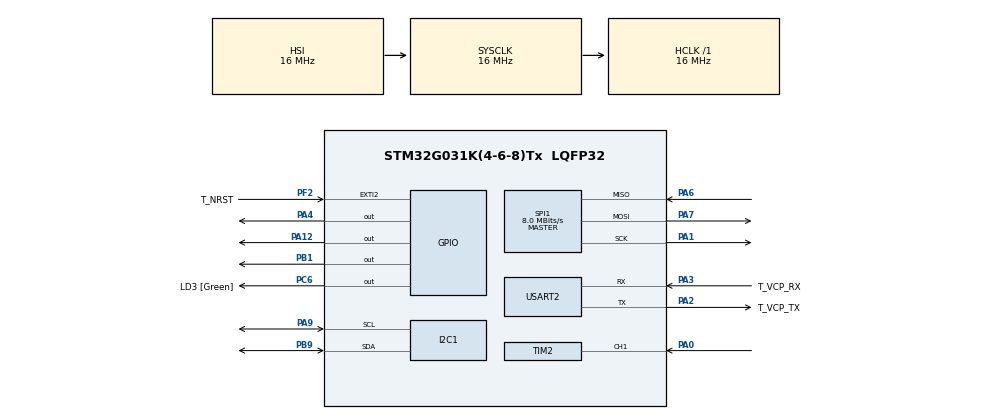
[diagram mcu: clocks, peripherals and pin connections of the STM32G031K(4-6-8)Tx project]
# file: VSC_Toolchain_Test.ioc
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Dma.I2C1_RX.1.Direction=DMA_PERIPH_TO_MEMORY
Dma.I2C1_RX.1.EventEnable=DISABLE
Dma.I2C1_RX.1.Instance=DMA1_Channel2
Dma.I2C1_RX.1.MemDataAlignment=DMA_MDATAALIGN_BYTE
Dma.I2C1_RX.1.MemInc=DMA_MINC_ENABLE
Dma.I2C1_RX.1.Mode=DMA_NORMAL
Dma.I2C1_RX.1.PeriphDataAlignment=DMA_PDATAALIGN_BYTE
Dma.I2C1_RX.1.PeriphInc=DMA_PINC_DISABLE
Dma.I2C1_RX.1.Polarity=HAL_DMAMUX_REQ_GEN_RISING
Dma.I2C1_RX.1.Priority=DMA_PRIORITY_LOW
Dma.I2C1_RX.1.RequestNumber=1
Dma.I2C1_RX.1.SignalID=NONE
Dma.I2C1_RX.1.SyncEnable=DISABLE
Dma.I2C1_RX.1.SyncPolarity=HAL_DMAMUX_SYNC_NO_EVENT
Dma.I2C1_RX.1.SyncRequestNumber=1
Dma.I2C1_RX.1.SyncSignalID=NONE
Dma.Request0=TIM2_CH1
Dma.Request1=I2C1_RX
Dma.TIM2_CH1.0.Direction=DMA_PERIPH_TO_MEMORY
Dma.TIM2_CH1.0.EventEnable=DISABLE
Dma.TIM2_CH1.0.Instance=DMA1_Channel1
Dma.TIM2_CH1.0.MemDataAlignment=DMA_MDATAALIGN_WORD
Dma.TIM2_CH1.0.MemInc=DMA_MINC_ENABLE
Dma.TIM2_CH1.0.Mode=DMA_NORMAL
Dma.TIM2_CH1.0.PeriphDataAlignment=DMA_PDATAALIGN_WORD
Dma.TIM2_CH1.0.PeriphInc=DMA_PINC_DISABLE
Dma.TIM2_CH1.0.Polarity=HAL_DMAMUX_REQ_GEN_RISING
Dma.TIM2_CH1.0.Priority=DMA_PRIORITY_LOW
Dma.TIM2_CH1.0.RequestNumber=1
Dma.TIM2_CH1.0.SignalID=NONE
Dma.TIM2_CH1.0.SyncEnable=DISABLE
Dma.TIM2_CH1.0.SyncPolarity=HAL_DMAMUX_SYNC_NO_EVENT
Dma.TIM2_CH1.0.SyncRequestNumber=1
Dma.TIM2_CH1.0.SyncSignalID=NONE
FREERTOS.Tasks01=defaultTask,24,128,StartDefaultTask,Default,NULL,Dynamic,NULL,NULL
I2C1.Timing=0x00503D58
Mcu.Family=STM32G0
Mcu.Name=STM32G031K(4-6-8)Tx
Mcu.Package=LQFP32
NVIC.DMA1_Channel1_IRQn=true\:3\:0\:false\:false\:true\:true\:false\:true\:true
NVIC.DMA1_Channel2_3_IRQn=true\:3\:0\:false\:false\:true\:true\:false\:true\:true
NVIC.TIM16_IRQn=true\:3\:0\:false\:false\:true\:false\:false\:true\:true
NVIC.TimeBase=TIM16_IRQn
NVIC.TimeBaseIP=TIM16
PA0.Signal=S_TIM2_CH1_ETR
PA1.Mode=Full_Duplex_Master
PA1.Signal=SPI1_SCK
PA12\ [PA10].Signal=GPIO_Output
PA13.GPIO_Label=T_JTMS
PA13.Mode=Serial_Wire
PA13.Signal=SYS_SWDIO
PA14-BOOT0.GPIO_Label=T_JTCK
PA14-BOOT0.Mode=Serial_Wire
PA14-BOOT0.Signal=SYS_SWCLK
PA2.GPIO_Label=T_VCP_TX
PA2.GPIO_PuPd=GPIO_PULLUP
PA2.Mode=Asynchronous
PA2.Signal=USART2_TX
PA3.GPIO_Label=T_VCP_RX
PA3.GPIO_PuPd=GPIO_PULLUP
PA3.Mode=Asynchronous
PA3.Signal=USART2_RX
PA4.Signal=GPIO_Output
PA6.Mode=Full_Duplex_Master
PA6.Signal=SPI1_MISO
PA7.Mode=Full_Duplex_Master
PA7.Signal=SPI1_MOSI
PA9.Mode=I2C
PA9.Signal=I2C1_SCL
PB1.Signal=GPIO_Output
PB9.Mode=I2C
PB9.Signal=I2C1_SDA
PC14-OSC32_IN\ (PC14).Mode=LSE-External-Oscillator
PC14-OSC32_IN\ (PC14).Signal=RCC_OSC32_IN
PC15-OSC32_OUT\ (PC15).Mode=LSE-External-Oscillator
PC15-OSC32_OUT\ (PC15).Signal=RCC_OSC32_OUT
PC6.GPIO_Label=LD3 [Green]
PC6.Signal=GPIO_Output
PF2\ -\ NRST.GPIO_Label=T_NRST
PF2\ -\ NRST.Signal=GPXTI2
ProjectManager.HeapSize=0x200
ProjectManager.StackSize=0x400
ProjectManager.TargetToolchain=CMake
RCC.AHBFreq_Value=16000000
RCC.CortexFreq_Value=16000000
RCC.EXTERNAL_CLOCK_VALUE=12288000
RCC.HCLKFreq_Value=16000000
RCC.HSE_VALUE=8000000
RCC.HSI_VALUE=16000000
RCC.SYSCLKFreq_VALUE=16000000
RCC.VCOOutputFreq_Value=128000000
SH.S_TIM2_CH1_ETR.0=TIM2_CH1,Input_Capture1_from_TI1
SPI1.CalculateBaudRate=8.0 MBits/s
SPI1.Direction=SPI_DIRECTION_2LINES
SPI1.Mode=SPI_MODE_MASTER
SPI1.VirtualType=VM_MASTER
TIM14.Prescaler=14999
TIM2.Channel-Input_Capture1_from_TI1=TIM_CHANNEL_1
USART2.VirtualMode-Asynchronous=VM_ASYNC
USART2.WordLength=WORDLENGTH_8B
VP_FREERTOS_VS_CMSIS_V2.Mode=CMSIS_V2
VP_SYS_VS_tim16.Mode=TIM16
VP_TIM14_VS_ClockSourceINT.Mode=Enable_Timer
board=NUCLEO-G031K8

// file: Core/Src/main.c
/* USER CODE BEGIN Header */
/**
  ******************************************************************************
  * @file           : main.c
  * @brief          : Main program body
  ******************************************************************************
  * @attention
  *
  * Copyright (c) 2026 STMicroelectronics.
  * All rights reserved.
  *
  * This software is licensed under terms that can be found in the LICENSE file
  * in the root directory of this software component.
  * If no LICENSE file comes with this software, it is provided AS-IS.
  *
  ******************************************************************************
  */
/* USER CODE END Header */
#include "main.h"
#include "cmsis_os2.h"

/* USER CODE BEGIN Includes */
#include <stdint.h>
#include <string.h>
#include <stdio.h>
#include <stdlib.h>
#include <math.h>
#include "imu_math.h"
#include "imu_task.h"
#include "stm32g0xx_hal_spi.h"
#include "lcd_driver.h"
#include "display_task.h"
#include "stm32g0xx_hal_uart.h"
#include "FreeRTOS.h"
#include "task.h"

/* USER CODE END Includes */

/* USER CODE BEGIN PD */

#define IMU_DEV_ADDR 0b11010000
#define DEG2RAD 0.01745329252f

/* USER CODE END PD */

I2C_HandleTypeDef hi2c1;
DMA_HandleTypeDef hdma_i2c1_rx;

SPI_HandleTypeDef hspi1;

TIM_HandleTypeDef htim2;
TIM_HandleTypeDef htim14;
DMA_HandleTypeDef hdma_tim2_ch1;

UART_HandleTypeDef huart2;

/* USER CODE BEGIN PV */
osMessageQueueId_t eulerQueue;
osThreadId_t imuTaskHandle;
const osThreadAttr_t imuTask_attributes = {
  .name = "imuTask",
  .priority = (osPriority_t) osPriorityAboveNormal1,
  .stack_size = 128 * 6
};
osThreadId_t displayTaskHandle;
const osThreadAttr_t displayTask_attributes = {
  .name = "displayTask",
  .priority = (osPriority_t) osPriorityNormal,
  .stack_size = 128 * 5
};

#define FLAG_DMA_COMPLETE 0x0001

uint8_t sensor_bytes[16];

/* USER CODE END PV */

void SystemClock_Config(void);
static void MX_GPIO_Init(void);
static void MX_DMA_Init(void);
static void MX_USART2_UART_Init(void);
static void MX_I2C1_Init(void);
static void MX_TIM14_Init(void);
static void MX_TIM2_Init(void);
static void MX_SPI1_Init(void);

/* USER CODE BEGIN 0 */

volatile char g_overflow_task[16];

void vApplicationMallocFailedHook(void){
  __disable_irq();
  for(;;);                      // breakpoint here: heap exhausted
}

void vApplicationStackOverflowHook(TaskHandle_t t, char *n){
  (void)t;
  strncpy((char*)g_overflow_task, n, 15);   // read this in the watch window
  __disable_irq();
  for(;;);                      // breakpoint here: stack overflow
}

void I2C1_IRQHandler(void)
{
  HAL_I2C_EV_IRQHandler(&hi2c1);
  HAL_I2C_ER_IRQHandler(&hi2c1);
}

void EXTI0_1_IRQHandler(void){
  HAL_GPIO_EXTI_IRQHandler(GPIO_PIN_1);
}

void TIM2_IRQHandler(void){
  HAL_TIM_IRQHandler(&htim2);
}

void HAL_GPIO_EXTI_Rising_Callback(uint16_t GPIO_Pin){
  if(GPIO_Pin == GPIO_PIN_1){
    HAL_GPIO_TogglePin(LD3_GPIO_Port, LD3_Pin);
  }
}

void HAL_GPIO_EXTI_Falling_Callback(uint16_t GPIO_Pin){
  if(GPIO_Pin == GPIO_PIN_1){
    HAL_GPIO_WritePin(LD3_GPIO_Port, LD3_Pin, GPIO_PIN_RESET);
  }
}

void HAL_TIM_IC_CaptureCallback(TIM_HandleTypeDef *htim){
  if (htim->Instance == TIM2) {
    uint16_t timer_reading = (uint16_t)HAL_TIM_ReadCapturedValue(htim, TIM_CHANNEL_1);
    uint8_t timer_upper = (uint8_t) (timer_reading >> 8) & 0xFF;
    uint8_t timer_lower = (uint8_t) (timer_reading & 0xFF);
    sensor_bytes[0] = timer_upper;
    sensor_bytes[1] = timer_lower;
    HAL_I2C_Mem_Read_DMA(&hi2c1, IMU_DEV_ADDR, 0x3B, I2C_MEMADD_SIZE_8BIT, &sensor_bytes[2], 14);
  }
}

void HAL_I2C_MemRxCpltCallback(I2C_HandleTypeDef *hi2c){
  if (hi2c == &hi2c1 && imuTaskHandle != NULL){
    osThreadFlagsSet(imuTaskHandle, FLAG_DMA_COMPLETE);
  }
}

/* USER CODE END 0 */

int main(void)
{

  /* MCU Configuration--------------------------------------------------------*/

  /* Reset of all peripherals, Initializes the Flash interface and the Systick. */
  HAL_Init();

  /* Configure the system clock */
  SystemClock_Config();

  /* Initialize all configured peripherals */
  MX_GPIO_Init();
  MX_DMA_Init();
  MX_USART2_UART_Init();
  MX_I2C1_Init();
  MX_TIM14_Init();
  MX_TIM2_Init();
  MX_SPI1_Init();
  /* USER CODE BEGIN 2 */

  HAL_NVIC_SetPriority(USART2_IRQn, 0, 0);
  HAL_NVIC_EnableIRQ(EXTI0_1_IRQn);
  HAL_NVIC_EnableIRQ(USART2_IRQn);
  HAL_NVIC_SetPriority(I2C1_IRQn, 0, 0);
  HAL_NVIC_EnableIRQ(I2C1_IRQn);
  HAL_NVIC_EnableIRQ(TIM2_IRQn);
  /* USER CODE END 2 */

  /* Init scheduler */
  osKernelInitialize();

  /* USER CODE BEGIN RTOS_QUEUES */
  /* add queues, ... */
  eulerQueue = osMessageQueueNew(1, sizeof(vec3), NULL);
  if(eulerQueue == NULL) Error_Handler();
  /* USER CODE END RTOS_QUEUES */

  /* Create the thread(s) */
  /* creation of defaultTask */
  // defaultTaskHandle = osThreadNew(StartDefaultTask, NULL, &defaultTask_attributes);
  /* USER CODE BEGIN RTOS_THREADS */
  /* add threads, ... */
  imuTaskHandle = osThreadNew(thread_func_imu, NULL, &imuTask_attributes);
  if(imuTaskHandle == NULL) Error_Handler();
  displayTaskHandle = osThreadNew(thread_func_display, NULL, &displayTask_attributes);
  if(displayTaskHandle == NULL) Error_Handler();

  /* USER CODE END RTOS_THREADS */

  /* USER CODE BEGIN RTOS_EVENTS */
  /* add events, ... */
  // char buf[48];
  // int n = sprintf(buf, "free=%u min=%u\r\n",
  //                 (unsigned)xPortGetFreeHeapSize(),
  //                 (unsigned)xPortGetMinimumEverFreeHeapSize());
  // HAL_UART_Transmit(&huart2, (uint8_t*)buf, n, 50);

  /* USER CODE END RTOS_EVENTS */

  /* Start scheduler */
  osKernelStart();

  /* We should never get here as control is now taken by the scheduler */
}

void SystemClock_Config(void)
{
  RCC_OscInitTypeDef RCC_OscInitStruct = {0};
  RCC_ClkInitTypeDef RCC_ClkInitStruct = {0};

  /** Configure the main internal regulator output voltage
  */
  HAL_PWREx_ControlVoltageScaling(PWR_REGULATOR_VOLTAGE_SCALE1);

  /** Initializes the RCC Oscillators according to the specified parameters
  * in the RCC_OscInitTypeDef structure.
  */
  RCC_OscInitStruct.OscillatorType = RCC_OSCILLATORTYPE_HSI;
  RCC_OscInitStruct.HSIState = RCC_HSI_ON;
  RCC_OscInitStruct.HSIDiv = RCC_HSI_DIV1;
  RCC_OscInitStruct.HSICalibrationValue = RCC_HSICALIBRATION_DEFAULT;
  RCC_OscInitStruct.PLL.PLLState = RCC_PLL_NONE;
  if (HAL_RCC_OscConfig(&RCC_OscInitStruct) != HAL_OK)
  {
    Error_Handler();
  }

  /** Initializes the CPU, AHB and APB buses clocks
  */
  RCC_ClkInitStruct.ClockType = RCC_CLOCKTYPE_HCLK|RCC_CLOCKTYPE_SYSCLK
                              |RCC_CLOCKTYPE_PCLK1;
  RCC_ClkInitStruct.SYSCLKSource = RCC_SYSCLKSOURCE_HSI;
  RCC_ClkInitStruct.AHBCLKDivider = RCC_SYSCLK_DIV1;
  RCC_ClkInitStruct.APB1CLKDivider = RCC_HCLK_DIV1;

  if (HAL_RCC_ClockConfig(&RCC_ClkInitStruct, FLASH_LATENCY_0) != HAL_OK)
  {
    Error_Handler();
  }
}

static void MX_I2C1_Init(void)
{

  hi2c1.Instance = I2C1;
  hi2c1.Init.Timing = 0x00503D58;
  hi2c1.Init.OwnAddress1 = 0;
  hi2c1.Init.AddressingMode = I2C_ADDRESSINGMODE_7BIT;
  hi2c1.Init.DualAddressMode = I2C_DUALADDRESS_DISABLE;
  hi2c1.Init.OwnAddress2 = 0;
  hi2c1.Init.OwnAddress2Masks = I2C_OA2_NOMASK;
  hi2c1.Init.GeneralCallMode = I2C_GENERALCALL_DISABLE;
  hi2c1.Init.NoStretchMode = I2C_NOSTRETCH_DISABLE;
  if (HAL_I2C_Init(&hi2c1) != HAL_OK)
  {
    Error_Handler();
  }

  /** Configure Analogue filter
  */
  if (HAL_I2CEx_ConfigAnalogFilter(&hi2c1, I2C_ANALOGFILTER_ENABLE) != HAL_OK)
  {
    Error_Handler();
  }

  /** Configure Digital filter
  */
  if (HAL_I2CEx_ConfigDigitalFilter(&hi2c1, 0) != HAL_OK)
  {
    Error_Handler();
  }

}

static void MX_SPI1_Init(void)
{

  /* SPI1 parameter configuration*/
  hspi1.Instance = SPI1;
  hspi1.Init.Mode = SPI_MODE_MASTER;
  hspi1.Init.Direction = SPI_DIRECTION_2LINES;
  hspi1.Init.DataSize = SPI_DATASIZE_8BIT;
  hspi1.Init.CLKPolarity = SPI_POLARITY_LOW;
  hspi1.Init.CLKPhase = SPI_PHASE_1EDGE;
  hspi1.Init.NSS = SPI_NSS_SOFT;
  hspi1.Init.BaudRatePrescaler = SPI_BAUDRATEPRESCALER_2;
  hspi1.Init.FirstBit = SPI_FIRSTBIT_MSB;
  hspi1.Init.TIMode = SPI_TIMODE_DISABLE;
  hspi1.Init.CRCCalculation = SPI_CRCCALCULATION_DISABLE;
  hspi1.Init.CRCPolynomial = 7;
  hspi1.Init.CRCLength = SPI_CRC_LENGTH_DATASIZE;
  hspi1.Init.NSSPMode = SPI_NSS_PULSE_ENABLE;
  if (HAL_SPI_Init(&hspi1) != HAL_OK)
  {
    Error_Handler();
  }

}

static void MX_TIM2_Init(void)
{

  TIM_MasterConfigTypeDef sMasterConfig = {0};
  TIM_IC_InitTypeDef sConfigIC = {0};

  htim2.Instance = TIM2;
  htim2.Init.Prescaler = 15999;
  htim2.Init.CounterMode = TIM_COUNTERMODE_UP;
  htim2.Init.Period = 4294967295;
  htim2.Init.ClockDivision = TIM_CLOCKDIVISION_DIV1;
  htim2.Init.AutoReloadPreload = TIM_AUTORELOAD_PRELOAD_DISABLE;
  if (HAL_TIM_IC_Init(&htim2) != HAL_OK)
  {
    Error_Handler();
  }
  sMasterConfig.MasterOutputTrigger = TIM_TRGO_RESET;
  sMasterConfig.MasterSlaveMode = TIM_MASTERSLAVEMODE_DISABLE;
  if (HAL_TIMEx_MasterConfigSynchronization(&htim2, &sMasterConfig) != HAL_OK)
  {
    Error_Handler();
  }
  sConfigIC.ICPolarity = TIM_INPUTCHANNELPOLARITY_RISING;
  sConfigIC.ICSelection = TIM_ICSELECTION_DIRECTTI;
  sConfigIC.ICPrescaler = TIM_ICPSC_DIV1;
  sConfigIC.ICFilter = 0;
  if (HAL_TIM_IC_ConfigChannel(&htim2, &sConfigIC, TIM_CHANNEL_1) != HAL_OK)
  {
    Error_Handler();
  }

}

static void MX_TIM14_Init(void)
{

  htim14.Instance = TIM14;
  htim14.Init.Prescaler = 14999;
  htim14.Init.CounterMode = TIM_COUNTERMODE_UP;
  htim14.Init.Period = 65535;
  htim14.Init.ClockDivision = TIM_CLOCKDIVISION_DIV1;
  htim14.Init.AutoReloadPreload = TIM_AUTORELOAD_PRELOAD_DISABLE;
  if (HAL_TIM_Base_Init(&htim14) != HAL_OK)
  {
    Error_Handler();
  }

}

static void MX_USART2_UART_Init(void)
{

  huart2.Instance = USART2;
  huart2.Init.BaudRate = 115200;
  huart2.Init.WordLength = UART_WORDLENGTH_8B;
  huart2.Init.StopBits = UART_STOPBITS_1;
  huart2.Init.Parity = UART_PARITY_NONE;
  huart2.Init.Mode = UART_MODE_TX_RX;
  huart2.Init.HwFlowCtl = UART_HWCONTROL_NONE;
  huart2.Init.OverSampling = UART_OVERSAMPLING_16;
  huart2.Init.OneBitSampling = UART_ONE_BIT_SAMPLE_DISABLE;
  huart2.Init.ClockPrescaler = UART_PRESCALER_DIV1;
  huart2.AdvancedInit.AdvFeatureInit = UART_ADVFEATURE_NO_INIT;
  if (HAL_UART_Init(&huart2) != HAL_OK)
  {
    Error_Handler();
  }

}

static void MX_DMA_Init(void)
{

  /* DMA controller clock enable */
  __HAL_RCC_DMA1_CLK_ENABLE();

  /* DMA interrupt init */
  /* DMA1_Channel1_IRQn interrupt configuration */
  HAL_NVIC_SetPriority(DMA1_Channel1_IRQn, 3, 0);
  HAL_NVIC_EnableIRQ(DMA1_Channel1_IRQn);
  /* DMA1_Channel2_3_IRQn interrupt configuration */
  HAL_NVIC_SetPriority(DMA1_Channel2_3_IRQn, 3, 0);
  HAL_NVIC_EnableIRQ(DMA1_Channel2_3_IRQn);

}

static void MX_GPIO_Init(void)
{
  GPIO_InitTypeDef GPIO_InitStruct = {0};

  /* GPIO Ports Clock Enable */
  __HAL_RCC_GPIOB_CLK_ENABLE();
  __HAL_RCC_GPIOC_CLK_ENABLE();
  __HAL_RCC_GPIOF_CLK_ENABLE();
  __HAL_RCC_GPIOA_CLK_ENABLE();

  /*Configure GPIO pin Output Level */
  HAL_GPIO_WritePin(GPIOA, GPIO_PIN_4|GPIO_PIN_12, GPIO_PIN_RESET);

  /*Configure GPIO pin Output Level */
  HAL_GPIO_WritePin(GPIOB, GPIO_PIN_1, GPIO_PIN_RESET);

  /*Configure GPIO pin Output Level */
  HAL_GPIO_WritePin(LD3_GPIO_Port, LD3_Pin, GPIO_PIN_RESET);

  /*Configure GPIO pin : T_NRST_Pin */
  GPIO_InitStruct.Pin = T_NRST_Pin;
  GPIO_InitStruct.Mode = GPIO_MODE_IT_RISING;
  GPIO_InitStruct.Pull = GPIO_NOPULL;
  HAL_GPIO_Init(T_NRST_GPIO_Port, &GPIO_InitStruct);

  /*Configure GPIO pins : PA4 PA12 */
  GPIO_InitStruct.Pin = GPIO_PIN_4|GPIO_PIN_12;
  GPIO_InitStruct.Mode = GPIO_MODE_OUTPUT_PP;
  GPIO_InitStruct.Pull = GPIO_NOPULL;
  GPIO_InitStruct.Speed = GPIO_SPEED_FREQ_LOW;
  HAL_GPIO_Init(GPIOA, &GPIO_InitStruct);

  /*Configure GPIO pin : PB1 */
  GPIO_InitStruct.Pin = GPIO_PIN_1;
  GPIO_InitStruct.Mode = GPIO_MODE_OUTPUT_PP;
  GPIO_InitStruct.Pull = GPIO_NOPULL;
  GPIO_InitStruct.Speed = GPIO_SPEED_FREQ_LOW;
  HAL_GPIO_Init(GPIOB, &GPIO_InitStruct);

  /*Configure GPIO pin : LD3_Pin */
  GPIO_InitStruct.Pin = LD3_Pin;
  GPIO_InitStruct.Mode = GPIO_MODE_OUTPUT_PP;
  GPIO_InitStruct.Pull = GPIO_NOPULL;
  GPIO_InitStruct.Speed = GPIO_SPEED_FREQ_LOW;
  HAL_GPIO_Init(LD3_GPIO_Port, &GPIO_InitStruct);

}

void HAL_TIM_PeriodElapsedCallback(TIM_HandleTypeDef *htim)
{
  if (htim->Instance == TIM16)
  {
    HAL_IncTick();
  }
}

void Error_Handler(void)
{
  __disable_irq();
  while (1)
  {
  }
}
